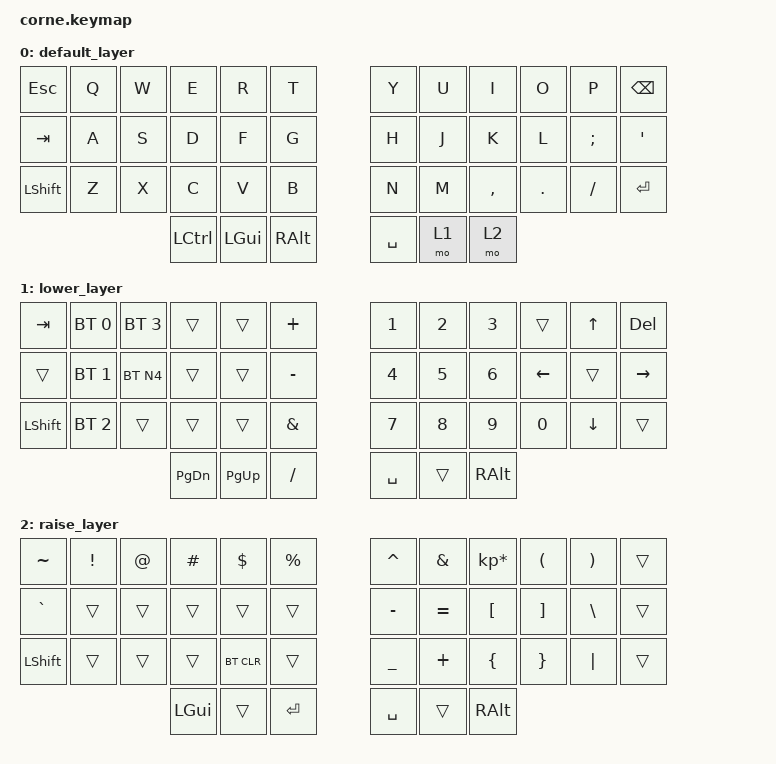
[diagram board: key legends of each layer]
/*
 * Copyright (c) 2020 The ZMK Contributors
 *
 * SPDX-License-Identifier: MIT
 */

#include <behaviors.dtsi>
#include <dt-bindings/zmk/keys.h>
#include <dt-bindings/zmk/bt.h>

/ {
        keymap {
                compatible = "zmk,keymap";

                default_layer {
/*
 | ESC  |  Q  |  W  |  E  |  R  |  T  |.....|  Y  |  U   |  I  |  O  |  P  | BKSP  |
 | TAB  |  A  |  S  |  D  |  F  |  G  |.....|  H  |  J   |  K  |  L  |  '  | ;     |
 | SHFT |  Z  |  X  |  C  |  V  |  B  |.....|  N  |  M   |  ,  |  .  |  /  | RET |
                   | CTRL | LGUI | ALT |...| SPC | MO1  | MO2 |
*/ 
                        bindings = <
/*Right_Side*/   &kp ESC   &kp Q &kp W &kp E &kp R &kp T     /*Left_Side*/   &kp Y &kp U  &kp I     &kp O   &kp P    &kp BSPC
/*Right_Side*/   &kp TAB   &kp A &kp S &kp D &kp F &kp G     /*Left_Side*/   &kp H &kp J  &kp K     &kp L   &kp SEMI  &kp SQT
/*Right_Side*/   &kp LSHFT &kp Z &kp X &kp C &kp V &kp B     /*Left_Side*/   &kp N &kp M  &kp COMMA &kp DOT &kp FSLH &kp RET
/*Right_Side*/               &kp LCTRL &kp LGUI &kp RALT     /*Left_Side*/   &kp SPACE &mo 1  &mo 2 
                        >;
                };
                lower_layer {
/*
 |  TAB |  BT1  |  BT4   |      |     |  +  |.....|  1  |  2  |  3  |     | UP  | DEL  |
 |      |  BT2  |  BT5   |      |     |  -  |.....|  4  |  5  |  6  | LFT |     | RGT  |
 | SHFT |  BT3  |        |      |     |  &  |.....|  7  |  8  |  9  |  0  | DWN |      |
                         | PG_DN | PG_UP | / |...| SPC |     | ALT |
*/
                        bindings = <
/*Right_Side*/ &kp TAB    &bt BT_SEL 0  &bt BT_SEL 3  &trans  &trans &kp PLUS       /*Left_Side*/  &kp N1   &kp N2   &kp N3 &trans   &kp UP   &kp DEL
/*Right_Side*/ &trans     &bt BT_SEL 1  &bt BT_SEL N4 &trans  &trans &kp MINUS      /*Left_Side*/  &kp N4   &kp N5   &kp N6 &kp LEFT &trans   &kp RIGHT
/*Right_Side*/ &kp LSHFT  &bt BT_SEL 2  &trans        &trans  &trans &kp AMPS       /*Left_Side*/  &kp N7   &kp N8   &kp N9 &kp N0   &kp DOWN &trans
/*Right_Side*/                                       &kp PG_DN &kp PG_UP &kp FSLH   /*Left_Side*/  &kp SPACE  &trans   &kp RALT
                        >;
                };

                raise_layer {
// -----------------------------------------------------------------------------------------
// |  ~   |  !  |  @  |  #  |  $  |  %  |   |  ^  |  &  |  *  |  (  |  )  | BKSP |
// | CTRL |     |     |     |     |     |   |  -  |  =  |  [  |  ]  |  \  |  `   |
// | SHFT |     |     |     |BTCLR|     |   |  _  |  +  |  {  |  }  | "|" |  ~   |
//                    | GUI |     | ENT |   | SPC |     | ALT |
                        bindings = <
   &kp TILDE  &kp EXCL &kp AT &kp HASH &kp DLLR   &kp PRCNT        &kp CARET &kp AMPS  &kp KP_MULTIPLY &kp LPAR &kp RPAR &trans
   &kp GRAVE  &trans   &trans &trans   &trans     &trans           &kp MINUS &kp EQUAL &kp LBKT        &kp RBKT &kp BSLH &trans
   &kp LSHFT  &trans   &trans &trans   &bt BT_CLR &trans           &kp UNDER &kp PLUS  &kp LBRC        &kp RBRC &kp PIPE &trans
                                   &kp LGUI &trans  &kp RET      &kp SPACE  &trans  &kp RALT
                        >;
                };
        };
};
